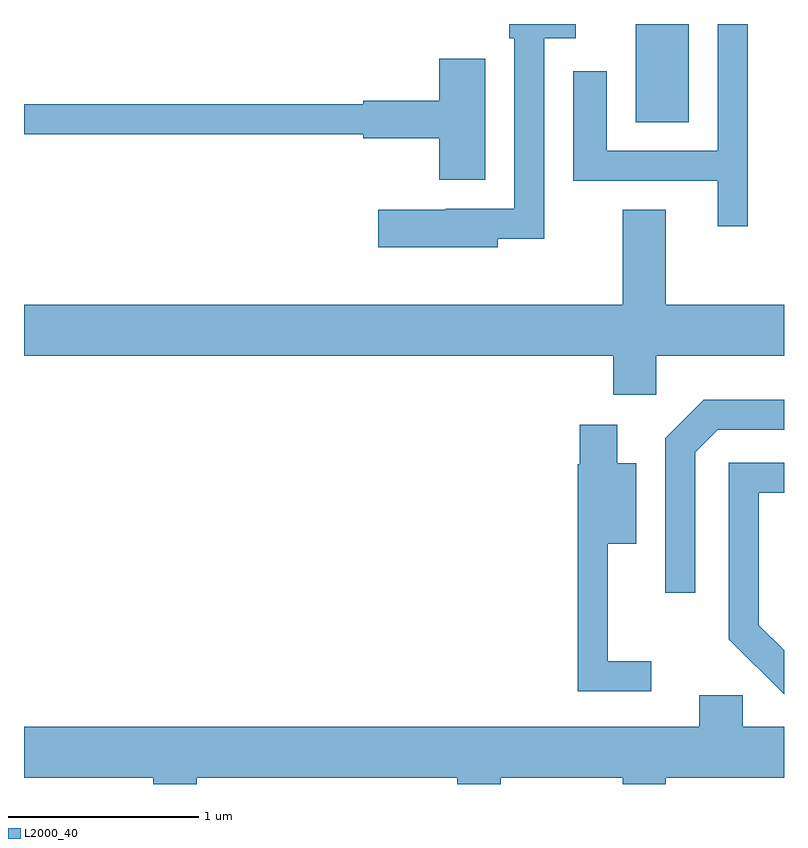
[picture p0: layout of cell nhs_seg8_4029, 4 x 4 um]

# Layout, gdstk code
import gdstk
lib = gdstk.Library(unit=1e-6, precision=1e-09)
def R(c, l, rs):  # rectangles x0, y0, x1, y1
    for r in rs: c.add(gdstk.rectangle(r[:2], r[2:], *l))
def P(c, l, *ps):  # polygons
    for p in ps: c.add(gdstk.Polygon(p, *l))
L2000_40 = (2000, 40)

nhs_seg8_4029 = lib.new_cell('nhs_seg8_4029')
R(nhs_seg8_4029, L2000_40, [(308.831,1879.826,309.109,1880.342)])
P(nhs_seg8_4029, L2000_40, [(308.104,1879.211),(308.349,1879.211),(308.349,1880.266),(308.514,1880.266),(308.514,1880.342),(308.166,1880.342),(308.166,1880.266),(308.191,1880.266),(308.191,1879.369),(307.83,1879.369),(307.83,1879.364),(307.476,1879.364),(307.476,1879.166),(308.104,1879.166)],
  [(309.419,1880.342),(309.261,1880.342),(309.261,1879.674),(308.679,1879.674),(308.679,1880.094),(308.501,1880.094),(308.501,1879.516),(309.261,1879.516),(309.261,1879.278),(309.419,1879.278)],
  [(308.039,1880.159),(307.796,1880.159),(307.796,1879.939),(307.396,1879.939),(307.396,1879.919),(305.611,1879.919),(305.611,1879.761),(307.396,1879.761),(307.396,1879.741),(307.796,1879.741),(307.796,1879.521),(308.039,1879.521)],
  [(308.939,1878.596),(309.611,1878.596),(309.611,1878.864),(308.989,1878.864),(308.989,1879.364),(308.761,1879.364),(308.761,1878.864),(305.611,1878.864),(305.611,1878.596),(308.711,1878.596),(308.711,1878.391),(308.939,1878.391)],
  [(309.144,1878.089),(309.262,1878.206),(309.611,1878.206),(309.611,1878.364),(309.189,1878.364),(308.986,1878.162),(308.986,1877.348),(309.144,1877.348)],
  [(308.913,1876.989),(308.684,1876.989),(308.684,1877.606),(308.834,1877.606),(308.834,1878.029),(308.734,1878.029),(308.734,1878.234),(308.536,1878.234),(308.536,1878.025),(308.526,1878.025),(308.526,1876.831),(308.913,1876.831)],
  [(309.611,1877.045),(309.479,1877.177),(309.479,1877.876),(309.611,1877.876),(309.611,1878.034),(309.321,1878.034),(309.321,1877.104),(309.611,1876.814)],
  [(306.519,1876.376),(307.891,1876.376),(307.891,1876.342),(308.119,1876.342),(308.119,1876.376),(308.761,1876.376),(308.761,1876.342),(308.989,1876.342),(308.989,1876.376),(309.611,1876.376),(309.611,1876.644),(309.394,1876.644),(309.394,1876.809),(309.166,1876.809),(309.166,1876.644),(305.611,1876.644),(305.611,1876.376),(306.291,1876.376),(306.291,1876.342),(306.519,1876.342)])

lib.write_gds('nhs_seg8_4029.gds')
